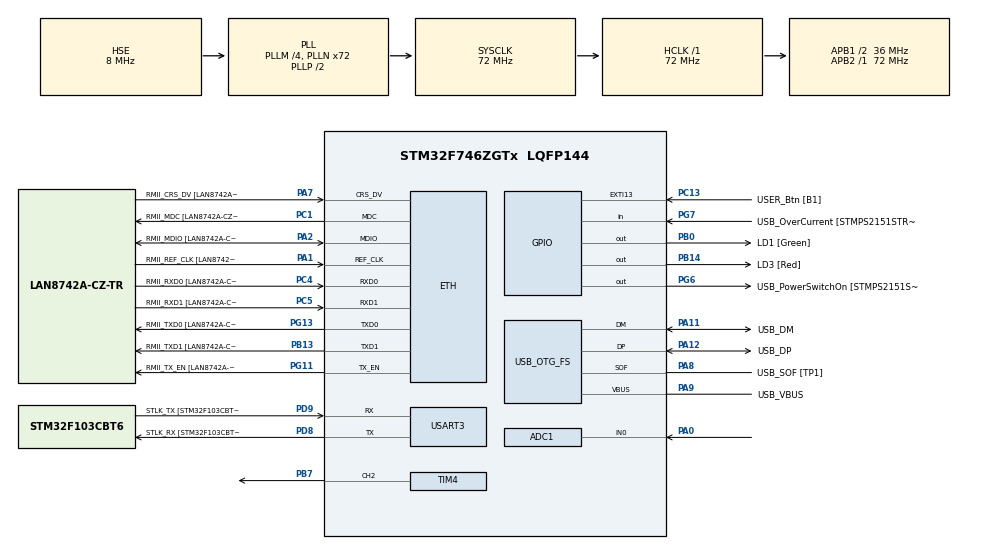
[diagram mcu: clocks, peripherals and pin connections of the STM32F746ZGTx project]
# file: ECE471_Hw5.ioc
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ADC1.Channel-1\#ChannelRegularConversion=ADC_CHANNEL_0
ADC1.NbrOfConversionFlag=1
ADC1.Rank-1\#ChannelRegularConversion=1
ADC1.SamplingTime-1\#ChannelRegularConversion=ADC_SAMPLETIME_3CYCLES
ADC1.master=1
ETH.MediaInterface=HAL_ETH_RMII_MODE
ETH.PHY_Name=LAN8742A_PHY_ADDRESS
ETH.PHY_Value=0
ETH.PhyAddress=0
FREERTOS.Queues01=Switch,5,uint8_t,0,Dynamic,NULL,NULL;Throttle,5,uint16_t,0,Dynamic,NULL,NULL
FREERTOS.Tasks01=defaultTask,0,128,StartDefaultTask,Default,NULL,Dynamic,NULL,NULL;alive,-1,128,alive_init,Default,NULL,Dynamic,NULL,NULL;button,0,128,button_init,Default,NULL,Dynamic,NULL,NULL;light,1,128,light_init,Default,NULL,Dynamic,NULL,NULL;analog,1,128,analog_init,Default,NULL,Dynamic,NULL,NULL;control,2,128,control_init,Default,NULL,Dynamic,NULL,NULL
Mcu.Family=STM32F7
Mcu.Name=STM32F746ZGTx
Mcu.Package=LQFP144
NVIC.PriorityGroup=NVIC_PRIORITYGROUP_4
NVIC.TIM1_UP_TIM10_IRQn=true\:15\:0\:false\:false\:true\:false\:false\:true\:true
NVIC.TimeBase=TIM1_UP_TIM10_IRQn
NVIC.TimeBaseIP=TIM1
PA0/WKUP.Signal=ADCx_IN0
PA1.GPIO_Label=RMII_REF_CLK [LAN8742A-CZ-TR_REFCLK0]
PA1.Mode=RMII
PA1.Signal=ETH_REF_CLK
PA10.GPIO_Label=USB_ID
PA10.Signal=USB_OTG_FS_ID
PA11.GPIO_Label=USB_DM
PA11.Mode=Device_Only
PA11.Signal=USB_OTG_FS_DM
PA12.GPIO_Label=USB_DP
PA12.Mode=Device_Only
PA12.Signal=USB_OTG_FS_DP
PA13.GPIO_Label=TMS
PA13.Mode=Serial_Wire
PA13.Signal=SYS_JTMS-SWDIO
PA14.GPIO_Label=TCK
PA14.Mode=Serial_Wire
PA14.Signal=SYS_JTCK-SWCLK
PA2.GPIO_Label=RMII_MDIO [LAN8742A-CZ-TR_MDIO]
PA2.Mode=RMII
PA2.Signal=ETH_MDIO
PA7.GPIO_Label=RMII_CRS_DV [LAN8742A-CZ-TR_CRS_DV]
PA7.Mode=RMII
PA7.Signal=ETH_CRS_DV
PA8.GPIO_Label=USB_SOF [TP1]
PA8.Mode=Activate_SOF_FS
PA8.Signal=USB_OTG_FS_SOF
PA9.GPIO_Label=USB_VBUS
PA9.Mode=Activate_VBUS
PA9.Signal=USB_OTG_FS_VBUS
PB0.GPIO_Label=LD1 [Green]
PB0.Signal=GPIO_Output
PB13.GPIO_Label=RMII_TXD1 [LAN8742A-CZ-TR_TXD1]
PB13.Mode=RMII
PB13.Signal=ETH_TXD1
PB14.GPIO_Label=LD3 [Red]
PB14.Signal=GPIO_Output
PB3.GPIO_Label=SW0
PB3.Signal=SYS_JTDO-SWO
PB7.Signal=S_TIM4_CH2
PC1.GPIO_Label=RMII_MDC [LAN8742A-CZ-TR_MDC]
PC1.Mode=RMII
PC1.Signal=ETH_MDC
PC13.GPIO_Label=USER_Btn [B1]
PC13.Signal=GPXTI13
PC14/OSC32_IN.Mode=LSE-External-Oscillator
PC14/OSC32_IN.Signal=RCC_OSC32_IN
PC15/OSC32_OUT.Mode=LSE-External-Oscillator
PC15/OSC32_OUT.Signal=RCC_OSC32_OUT
PC4.GPIO_Label=RMII_RXD0 [LAN8742A-CZ-TR_RXD0]
PC4.Mode=RMII
PC4.Signal=ETH_RXD0
PC5.GPIO_Label=RMII_RXD1 [LAN8742A-CZ-TR_RXD1]
PC5.Mode=RMII
PC5.Signal=ETH_RXD1
PD8.GPIO_Label=STLK_RX [STM32F103CBT6_PA3]
PD8.GPIO_PuPd=GPIO_PULLUP
PD8.Mode=Asynchronous
PD8.Signal=USART3_TX
PD9.GPIO_Label=STLK_TX [STM32F103CBT6_PA2]
PD9.GPIO_PuPd=GPIO_PULLUP
PD9.Mode=Asynchronous
PD9.Signal=USART3_RX
PG11.GPIO_Label=RMII_TX_EN [LAN8742A-CZ-TR_TXEN]
PG11.Mode=RMII
PG11.Signal=ETH_TX_EN
PG13.GPIO_Label=RMII_TXD0 [LAN8742A-CZ-TR_TXD0]
PG13.Mode=RMII
PG13.Signal=ETH_TXD0
PG6.GPIO_Label=USB_PowerSwitchOn [STMPS2151STR_EN]
PG6.Signal=GPIO_Output
PG7.GPIO_Label=USB_OverCurrent [STMPS2151STR_FAULT]
PG7.Signal=GPIO_Input
PH0/OSC_IN.GPIO_Label=MCO [STM32F103CBT6_PA8]
PH0/OSC_IN.Mode=HSE-External-Oscillator
PH0/OSC_IN.Signal=RCC_OSC_IN
PH1/OSC_OUT.Mode=HSE-External-Oscillator
PH1/OSC_OUT.Signal=RCC_OSC_OUT
ProjectManager.HeapSize=0x200
ProjectManager.StackSize=0x400
ProjectManager.TargetToolchain=STM32CubeIDE
RCC.48MHZClocksFreq_Value=24000000
RCC.AHBFreq_Value=72000000
RCC.APB1CLKDivider=RCC_HCLK_DIV2
RCC.APB1Freq_Value=36000000
RCC.APB1TimFreq_Value=72000000
RCC.APB2Freq_Value=72000000
RCC.APB2TimFreq_Value=72000000
RCC.CortexFreq_Value=72000000
RCC.HCLKFreq_Value=72000000
RCC.HSE_VALUE=8000000
RCC.HSI_VALUE=16000000
RCC.PLLM=4
RCC.PLLMUL=RCC_PLL_MUL9
RCC.PLLN=72
RCC.PLLQ=3
RCC.PRESCALERUSB=RCC_USBCLKSOURCE_PLL_DIV1_5
RCC.SYSCLKFreq_VALUE=72000000
RCC.SYSCLKSource=RCC_SYSCLKSOURCE_PLLCLK
RCC.SYSCLKSourceVirtual=RCC_SYSCLKSOURCE_PLLCLK
RCC.USBFreq_Value=48000000
RCC.VCOOutputFreq_Value=144000000
SH.ADCx_IN0.0=ADC1_IN0,IN0
SH.S_TIM4_CH2.0=TIM4_CH2,PWM Generation2 CH2
TIM4.Channel-PWM\ Generation2\ CH2=TIM_CHANNEL_2
TIM4.Period=100
TIM4.Prescaler=71
USART3.VirtualMode-Asynchronous=VM_ASYNC
USB_OTG_FS.VirtualMode=Device_Only
VP_FREERTOS_VS_CMSIS_V1.Mode=CMSIS_V1
VP_SYS_VS_tim1.Mode=TIM1
VP_TIM4_VS_ClockSourceINT.Mode=Internal
board=NUCLEO-F746ZG

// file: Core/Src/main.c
/* USER CODE BEGIN Header */
/**
  ******************************************************************************
  * @file           : main.c
  * @brief          : Main program body
  ******************************************************************************
  * @attention
  *
  * Copyright (c) 2023 STMicroelectronics.
  * All rights reserved.
  *
  * This software is licensed under terms that can be found in the LICENSE file
  * in the root directory of this software component.
  * If no LICENSE file comes with this software, it is provided AS-IS.
  *
  ******************************************************************************
  */
/* USER CODE END Header */
#include "main.h"
#include "string.h"
#include "cmsis_os.h"

/* USER CODE BEGIN Includes */
#include <stdbool.h>

/* USER CODE END Includes */

#if defined ( __ICCARM__ ) /*!< IAR Compiler */
#pragma location=0x2004c000
ETH_DMADescTypeDef  DMARxDscrTab[ETH_RX_DESC_CNT]; /* Ethernet Rx DMA Descriptors */
#pragma location=0x2004c0a0
ETH_DMADescTypeDef  DMATxDscrTab[ETH_TX_DESC_CNT]; /* Ethernet Tx DMA Descriptors */

#elif defined ( __CC_ARM )  /* MDK ARM Compiler */

__attribute__((at(0x2004c000))) ETH_DMADescTypeDef  DMARxDscrTab[ETH_RX_DESC_CNT]; /* Ethernet Rx DMA Descriptors */
__attribute__((at(0x2004c0a0))) ETH_DMADescTypeDef  DMATxDscrTab[ETH_TX_DESC_CNT]; /* Ethernet Tx DMA Descriptors */

#elif defined ( __GNUC__ ) /* GNU Compiler */
ETH_DMADescTypeDef DMARxDscrTab[ETH_RX_DESC_CNT] __attribute__((section(".RxDecripSection"))); /* Ethernet Rx DMA Descriptors */
ETH_DMADescTypeDef DMATxDscrTab[ETH_TX_DESC_CNT] __attribute__((section(".TxDecripSection")));   /* Ethernet Tx DMA Descriptors */

#endif

ETH_TxPacketConfig TxConfig;

ADC_HandleTypeDef hadc1;

ETH_HandleTypeDef heth;

TIM_HandleTypeDef htim4;

UART_HandleTypeDef huart3;

PCD_HandleTypeDef hpcd_USB_OTG_FS;

osThreadId defaultTaskHandle;
osThreadId aliveHandle;
osThreadId buttonHandle;
osThreadId lightHandle;
osThreadId analogHandle;
osThreadId controlHandle;
osMessageQId SwitchHandle;
osMessageQId ThrottleHandle;

void SystemClock_Config(void);
static void MX_GPIO_Init(void);
static void MX_ETH_Init(void);
static void MX_USART3_UART_Init(void);
static void MX_USB_OTG_FS_PCD_Init(void);
static void MX_ADC1_Init(void);
static void MX_TIM4_Init(void);
void StartDefaultTask(void const * argument);
void alive_init(void const * argument);
void button_init(void const * argument);
void light_init(void const * argument);
void analog_init(void const * argument);
void control_init(void const * argument);

/* USER CODE BEGIN PFP */
static bool Toggle =false;
/* USER CODE END PFP */

int main(void)
{

  /* MCU Configuration--------------------------------------------------------*/

  /* Reset of all peripherals, Initializes the Flash interface and the Systick. */
  HAL_Init();

  /* Configure the system clock */
  SystemClock_Config();

  /* Initialize all configured peripherals */
  MX_GPIO_Init();
  MX_ETH_Init();
  MX_USART3_UART_Init();
  MX_USB_OTG_FS_PCD_Init();
  MX_ADC1_Init();
  MX_TIM4_Init();
  /* USER CODE BEGIN 2 */
  HAL_TIM_PWM_Start(&htim4, TIM_CHANNEL_2);
  /* USER CODE END 2 */

  /* Create the queue(s) */
  /* definition and creation of Switch */
  osMessageQDef(Switch, 5, uint8_t);
  SwitchHandle = osMessageCreate(osMessageQ(Switch), NULL);

  /* definition and creation of Throttle */
  osMessageQDef(Throttle, 5, uint16_t);
  ThrottleHandle = osMessageCreate(osMessageQ(Throttle), NULL);

  /* Create the thread(s) */
  /* definition and creation of defaultTask */
  osThreadDef(defaultTask, StartDefaultTask, osPriorityNormal, 0, 128);
  defaultTaskHandle = osThreadCreate(osThread(defaultTask), NULL);

  /* definition and creation of alive */
  osThreadDef(alive, alive_init, osPriorityBelowNormal, 0, 128);
  aliveHandle = osThreadCreate(osThread(alive), NULL);

  /* definition and creation of button */
  osThreadDef(button, button_init, osPriorityNormal, 0, 128);
  buttonHandle = osThreadCreate(osThread(button), NULL);

  /* definition and creation of light */
  osThreadDef(light, light_init, osPriorityAboveNormal, 0, 128);
  lightHandle = osThreadCreate(osThread(light), NULL);

  /* definition and creation of analog */
  osThreadDef(analog, analog_init, osPriorityAboveNormal, 0, 128);
  analogHandle = osThreadCreate(osThread(analog), NULL);

  /* definition and creation of control */
  osThreadDef(control, control_init, osPriorityHigh, 0, 128);
  controlHandle = osThreadCreate(osThread(control), NULL);

  /* Start scheduler */
  osKernelStart();

  /* We should never get here as control is now taken by the scheduler */
  /* Infinite loop */
  while (1)
  {

  }
}

void SystemClock_Config(void)
{
  RCC_OscInitTypeDef RCC_OscInitStruct = {0};
  RCC_ClkInitTypeDef RCC_ClkInitStruct = {0};

  /** Configure LSE Drive Capability
  */
  HAL_PWR_EnableBkUpAccess();

  /** Configure the main internal regulator output voltage
  */
  __HAL_RCC_PWR_CLK_ENABLE();
  __HAL_PWR_VOLTAGESCALING_CONFIG(PWR_REGULATOR_VOLTAGE_SCALE3);

  /** Initializes the RCC Oscillators according to the specified parameters
  * in the RCC_OscInitTypeDef structure.
  */
  RCC_OscInitStruct.OscillatorType = RCC_OSCILLATORTYPE_HSE;
  RCC_OscInitStruct.HSEState = RCC_HSE_ON;
  RCC_OscInitStruct.PLL.PLLState = RCC_PLL_ON;
  RCC_OscInitStruct.PLL.PLLSource = RCC_PLLSOURCE_HSE;
  RCC_OscInitStruct.PLL.PLLM = 4;
  RCC_OscInitStruct.PLL.PLLN = 72;
  RCC_OscInitStruct.PLL.PLLP = RCC_PLLP_DIV2;
  RCC_OscInitStruct.PLL.PLLQ = 3;
  if (HAL_RCC_OscConfig(&RCC_OscInitStruct) != HAL_OK)
  {
    Error_Handler();
  }

  /** Initializes the CPU, AHB and APB buses clocks
  */
  RCC_ClkInitStruct.ClockType = RCC_CLOCKTYPE_HCLK|RCC_CLOCKTYPE_SYSCLK
                              |RCC_CLOCKTYPE_PCLK1|RCC_CLOCKTYPE_PCLK2;
  RCC_ClkInitStruct.SYSCLKSource = RCC_SYSCLKSOURCE_PLLCLK;
  RCC_ClkInitStruct.AHBCLKDivider = RCC_SYSCLK_DIV1;
  RCC_ClkInitStruct.APB1CLKDivider = RCC_HCLK_DIV2;
  RCC_ClkInitStruct.APB2CLKDivider = RCC_HCLK_DIV1;

  if (HAL_RCC_ClockConfig(&RCC_ClkInitStruct, FLASH_LATENCY_2) != HAL_OK)
  {
    Error_Handler();
  }
}

static void MX_ADC1_Init(void)
{

  ADC_ChannelConfTypeDef sConfig = {0};

  /** Configure the global features of the ADC (Clock, Resolution, Data Alignment and number of conversion)
  */
  hadc1.Instance = ADC1;
  hadc1.Init.ClockPrescaler = ADC_CLOCK_SYNC_PCLK_DIV2;
  hadc1.Init.Resolution = ADC_RESOLUTION_12B;
  hadc1.Init.ScanConvMode = ADC_SCAN_DISABLE;
  hadc1.Init.ContinuousConvMode = DISABLE;
  hadc1.Init.DiscontinuousConvMode = DISABLE;
  hadc1.Init.ExternalTrigConvEdge = ADC_EXTERNALTRIGCONVEDGE_NONE;
  hadc1.Init.ExternalTrigConv = ADC_SOFTWARE_START;
  hadc1.Init.DataAlign = ADC_DATAALIGN_RIGHT;
  hadc1.Init.NbrOfConversion = 1;
  hadc1.Init.DMAContinuousRequests = DISABLE;
  hadc1.Init.EOCSelection = ADC_EOC_SINGLE_CONV;
  if (HAL_ADC_Init(&hadc1) != HAL_OK)
  {
    Error_Handler();
  }

  /** Configure for the selected ADC regular channel its corresponding rank in the sequencer and its sample time.
  */
  sConfig.Channel = ADC_CHANNEL_0;
  sConfig.Rank = ADC_REGULAR_RANK_1;
  sConfig.SamplingTime = ADC_SAMPLETIME_3CYCLES;
  if (HAL_ADC_ConfigChannel(&hadc1, &sConfig) != HAL_OK)
  {
    Error_Handler();
  }

}

static void MX_ETH_Init(void)
{

   static uint8_t MACAddr[6];

  heth.Instance = ETH;
  MACAddr[0] = 0x00;
  MACAddr[1] = 0x80;
  MACAddr[2] = 0xE1;
  MACAddr[3] = 0x00;
  MACAddr[4] = 0x00;
  MACAddr[5] = 0x00;
  heth.Init.MACAddr = &MACAddr[0];
  heth.Init.MediaInterface = HAL_ETH_RMII_MODE;
  heth.Init.TxDesc = DMATxDscrTab;
  heth.Init.RxDesc = DMARxDscrTab;
  heth.Init.RxBuffLen = 1524;

  if (HAL_ETH_Init(&heth) != HAL_OK)
  {
    Error_Handler();
  }

  memset(&TxConfig, 0 , sizeof(ETH_TxPacketConfig));
  TxConfig.Attributes = ETH_TX_PACKETS_FEATURES_CSUM | ETH_TX_PACKETS_FEATURES_CRCPAD;
  TxConfig.ChecksumCtrl = ETH_CHECKSUM_IPHDR_PAYLOAD_INSERT_PHDR_CALC;
  TxConfig.CRCPadCtrl = ETH_CRC_PAD_INSERT;

}

static void MX_TIM4_Init(void)
{

  TIM_ClockConfigTypeDef sClockSourceConfig = {0};
  TIM_MasterConfigTypeDef sMasterConfig = {0};
  TIM_OC_InitTypeDef sConfigOC = {0};

  htim4.Instance = TIM4;
  htim4.Init.Prescaler = 71;
  htim4.Init.CounterMode = TIM_COUNTERMODE_UP;
  htim4.Init.Period = 100;
  htim4.Init.ClockDivision = TIM_CLOCKDIVISION_DIV1;
  htim4.Init.AutoReloadPreload = TIM_AUTORELOAD_PRELOAD_DISABLE;
  if (HAL_TIM_Base_Init(&htim4) != HAL_OK)
  {
    Error_Handler();
  }
  sClockSourceConfig.ClockSource = TIM_CLOCKSOURCE_INTERNAL;
  if (HAL_TIM_ConfigClockSource(&htim4, &sClockSourceConfig) != HAL_OK)
  {
    Error_Handler();
  }
  if (HAL_TIM_PWM_Init(&htim4) != HAL_OK)
  {
    Error_Handler();
  }
  sMasterConfig.MasterOutputTrigger = TIM_TRGO_RESET;
  sMasterConfig.MasterSlaveMode = TIM_MASTERSLAVEMODE_DISABLE;
  if (HAL_TIMEx_MasterConfigSynchronization(&htim4, &sMasterConfig) != HAL_OK)
  {
    Error_Handler();
  }
  sConfigOC.OCMode = TIM_OCMODE_PWM1;
  sConfigOC.Pulse = 0;
  sConfigOC.OCPolarity = TIM_OCPOLARITY_HIGH;
  sConfigOC.OCFastMode = TIM_OCFAST_DISABLE;
  if (HAL_TIM_PWM_ConfigChannel(&htim4, &sConfigOC, TIM_CHANNEL_2) != HAL_OK)
  {
    Error_Handler();
  }
  HAL_TIM_MspPostInit(&htim4);

}

static void MX_USART3_UART_Init(void)
{

  huart3.Instance = USART3;
  huart3.Init.BaudRate = 115200;
  huart3.Init.WordLength = UART_WORDLENGTH_8B;
  huart3.Init.StopBits = UART_STOPBITS_1;
  huart3.Init.Parity = UART_PARITY_NONE;
  huart3.Init.Mode = UART_MODE_TX_RX;
  huart3.Init.HwFlowCtl = UART_HWCONTROL_NONE;
  huart3.Init.OverSampling = UART_OVERSAMPLING_16;
  huart3.Init.OneBitSampling = UART_ONE_BIT_SAMPLE_DISABLE;
  huart3.AdvancedInit.AdvFeatureInit = UART_ADVFEATURE_NO_INIT;
  if (HAL_UART_Init(&huart3) != HAL_OK)
  {
    Error_Handler();
  }

}

static void MX_USB_OTG_FS_PCD_Init(void)
{

  hpcd_USB_OTG_FS.Instance = USB_OTG_FS;
  hpcd_USB_OTG_FS.Init.dev_endpoints = 6;
  hpcd_USB_OTG_FS.Init.speed = PCD_SPEED_FULL;
  hpcd_USB_OTG_FS.Init.dma_enable = DISABLE;
  hpcd_USB_OTG_FS.Init.phy_itface = PCD_PHY_EMBEDDED;
  hpcd_USB_OTG_FS.Init.Sof_enable = ENABLE;
  hpcd_USB_OTG_FS.Init.low_power_enable = DISABLE;
  hpcd_USB_OTG_FS.Init.lpm_enable = DISABLE;
  hpcd_USB_OTG_FS.Init.vbus_sensing_enable = ENABLE;
  hpcd_USB_OTG_FS.Init.use_dedicated_ep1 = DISABLE;
  if (HAL_PCD_Init(&hpcd_USB_OTG_FS) != HAL_OK)
  {
    Error_Handler();
  }

}

static void MX_GPIO_Init(void)
{
  GPIO_InitTypeDef GPIO_InitStruct = {0};

  /* GPIO Ports Clock Enable */
  __HAL_RCC_GPIOC_CLK_ENABLE();
  __HAL_RCC_GPIOH_CLK_ENABLE();
  __HAL_RCC_GPIOA_CLK_ENABLE();
  __HAL_RCC_GPIOB_CLK_ENABLE();
  __HAL_RCC_GPIOD_CLK_ENABLE();
  __HAL_RCC_GPIOG_CLK_ENABLE();

  /*Configure GPIO pin Output Level */
  HAL_GPIO_WritePin(GPIOB, LD1_Pin|LD3_Pin, GPIO_PIN_RESET);

  /*Configure GPIO pin Output Level */
  HAL_GPIO_WritePin(USB_PowerSwitchOn_GPIO_Port, USB_PowerSwitchOn_Pin, GPIO_PIN_RESET);

  /*Configure GPIO pin : USER_Btn_Pin */
  GPIO_InitStruct.Pin = USER_Btn_Pin;
  GPIO_InitStruct.Mode = GPIO_MODE_IT_RISING;
  GPIO_InitStruct.Pull = GPIO_NOPULL;
  HAL_GPIO_Init(USER_Btn_GPIO_Port, &GPIO_InitStruct);

  /*Configure GPIO pins : LD1_Pin LD3_Pin */
  GPIO_InitStruct.Pin = LD1_Pin|LD3_Pin;
  GPIO_InitStruct.Mode = GPIO_MODE_OUTPUT_PP;
  GPIO_InitStruct.Pull = GPIO_NOPULL;
  GPIO_InitStruct.Speed = GPIO_SPEED_FREQ_LOW;
  HAL_GPIO_Init(GPIOB, &GPIO_InitStruct);

  /*Configure GPIO pin : USB_PowerSwitchOn_Pin */
  GPIO_InitStruct.Pin = USB_PowerSwitchOn_Pin;
  GPIO_InitStruct.Mode = GPIO_MODE_OUTPUT_PP;
  GPIO_InitStruct.Pull = GPIO_NOPULL;
  GPIO_InitStruct.Speed = GPIO_SPEED_FREQ_LOW;
  HAL_GPIO_Init(USB_PowerSwitchOn_GPIO_Port, &GPIO_InitStruct);

  /*Configure GPIO pin : USB_OverCurrent_Pin */
  GPIO_InitStruct.Pin = USB_OverCurrent_Pin;
  GPIO_InitStruct.Mode = GPIO_MODE_INPUT;
  GPIO_InitStruct.Pull = GPIO_NOPULL;
  HAL_GPIO_Init(USB_OverCurrent_GPIO_Port, &GPIO_InitStruct);

}

void StartDefaultTask(void const * argument)
{
  for(;;)
  {
    osDelay(1);
  }
}

void alive_init(void const * argument)
{
  /* USER CODE BEGIN alive_init */
  /* Infinite loop */

  for(;;) //1000 = 1 sec
  {
	  HAL_GPIO_WritePin(GPIOB, GPIO_PIN_14, GPIO_PIN_SET); //red
	  osDelay(1000);
	  HAL_GPIO_WritePin(GPIOB, GPIO_PIN_14, GPIO_PIN_RESET); //red
	  osDelay(1000);
  }
  /* USER CODE END alive_init */
}

void button_init(void const * argument)
{
  /* USER CODE BEGIN button_init */
  /* Infinite loop */
  for(;;)
  {
	if(HAL_GPIO_ReadPin(GPIOC, GPIO_PIN_13) == GPIO_PIN_SET){
		Toggle = true;

	}
	else{
		Toggle = false;
	}
	osStatus status = osMessagePut(SwitchHandle, Toggle, osWaitForever);
    osDelay(10);
  }
  /* USER CODE END button_init */
}

void light_init(void const * argument)
{
  /* USER CODE BEGIN light_init */
  /* Infinite loop */
  for(;;)
  {
	osEvent messageEvent = osMessageGet(SwitchHandle, osWaitForever);
	Toggle = (bool)messageEvent.value.p;

	if(Toggle){
		HAL_GPIO_WritePin(GPIOB, GPIO_PIN_0, GPIO_PIN_SET); //green
	}
	else{
		HAL_GPIO_WritePin(GPIOB, GPIO_PIN_0, GPIO_PIN_RESET); //green
	}

    osDelay(1);
  }
  /* USER CODE END light_init */
}

void analog_init(void const * argument)
{
  /* USER CODE BEGIN analog_init */
  /* Infinite loop */
  for(;;)
  {
	  	  HAL_ADC_Start(&hadc1);

	  	  // Wait for the ADC conversion to complete (blocking)
	  	  HAL_ADC_PollForConversion(&hadc1, HAL_MAX_DELAY);

	  	  // Read the raw ADC value
	  	  uint16_t raw = HAL_ADC_GetValue(&hadc1);
	  	  uint16_t transmit = 255*raw/4095;
	  	  osStatus status = osMessagePut(ThrottleHandle, transmit, osWaitForever);

	  	  // 12-bit ADC with VREF = 3.0V
	  	 // uint8_t transmit = 255*raw/4095;

	  	 // HAL_UART_Transmit(&huart3, (uint8_t*)&transmit, 1, HAL_MAX_DELAY);

	  	  // Print the voltage value

	  	// sprintf(msg, "%.2fV\r\n", voltage);

	  	  // transmit on uart3 for
	  	  //HAL_UART_Transmit(&huart3, *voltage, 1, 100);

    osDelay(1);
  }
  /* USER CODE END analog_init */
}

void control_init(void const * argument)
{
  /* USER CODE BEGIN control_init */
  /* Infinite loop */
  for(;;)
  {
	uint16_t LedSet = 0;
	// TIM4->CCR2 = receivedValue;
	osEvent messageEvent = osMessageGet(ThrottleHandle, osWaitForever);
	LedSet = (uint16_t)messageEvent.value.p;
    TIM4->CCR2 = LedSet;
   // HAL_UART_Transmit(&huart3, (uint8_t*)&LedSet, 1, HAL_MAX_DELAY);
    osDelay(1);
  }
  /* USER CODE END control_init */
}

void HAL_TIM_PeriodElapsedCallback(TIM_HandleTypeDef *htim)
{
  if (htim->Instance == TIM1) {
    HAL_IncTick();
  }
}

void Error_Handler(void)
{
  __disable_irq();
  while (1)
  {
  }
}
